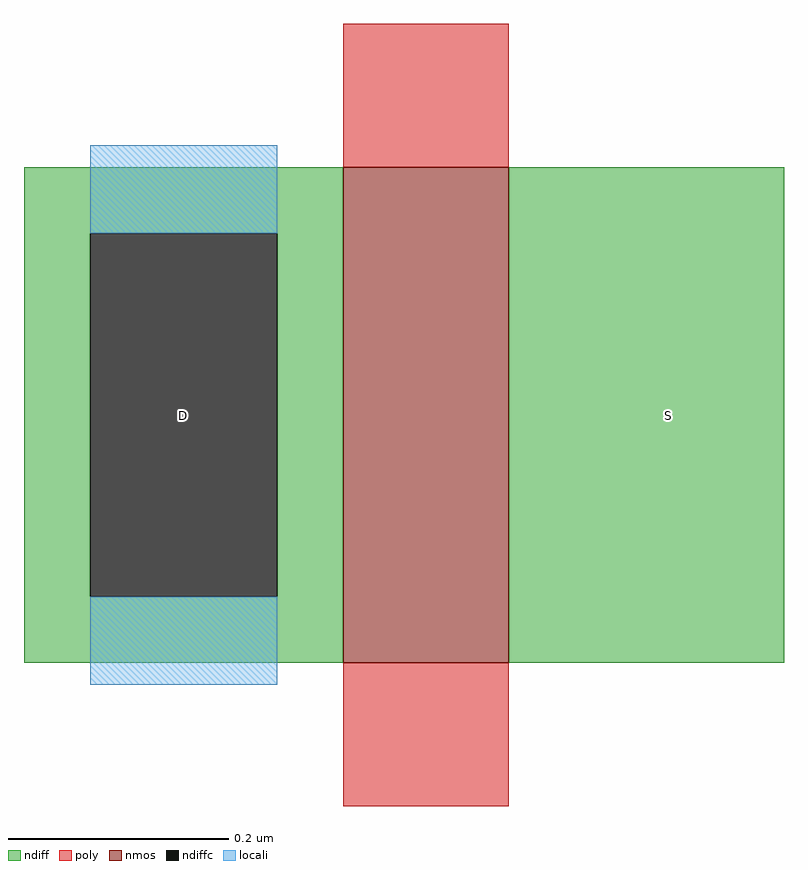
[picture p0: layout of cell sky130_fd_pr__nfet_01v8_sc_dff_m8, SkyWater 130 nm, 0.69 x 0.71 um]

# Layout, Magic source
magic
tech sky130A
magscale 1 2
<< nmos >>
rect -15 -45 15 45
<< ndiff >>
rect -73 33 -15 45
rect -73 -33 -61 33
rect -27 -33 -15 33
rect -73 -45 -15 -33
rect 15 -45 65 45
<< ndiffc >>
rect -61 -33 -27 33
<< poly >>
rect -15 45 15 71
rect -15 -71 15 -45
<< locali >>
rect -61 33 -27 49
rect -61 -49 -27 -33
<< labels >>
rlabel ndiffc -44 0 -44 0 0 D
port 1 nsew
rlabel ndiff 44 0 44 0 0 S
port 2 nsew
<< end >>
